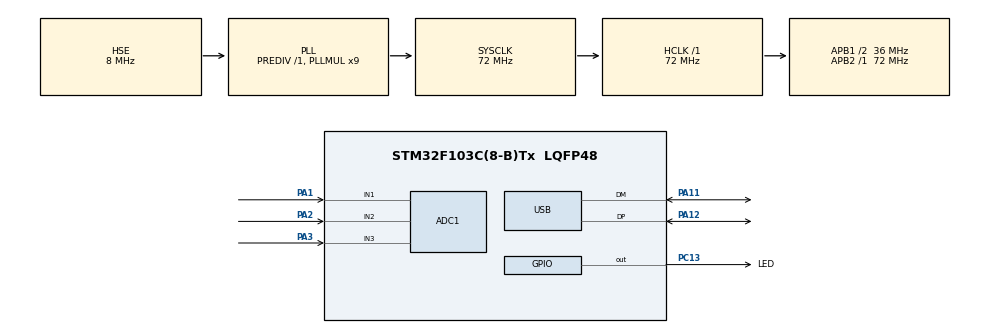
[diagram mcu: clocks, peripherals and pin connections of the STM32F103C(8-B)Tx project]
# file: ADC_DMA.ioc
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ADC1.Channel-0\#ChannelRegularConversion=ADC_CHANNEL_1
ADC1.Channel-1\#ChannelRegularConversion=ADC_CHANNEL_2
ADC1.Channel-2\#ChannelRegularConversion=ADC_CHANNEL_3
ADC1.ExternalTrigConv=ADC_EXTERNALTRIGCONV_T3_TRGO
ADC1.NbrOfConversion=3
ADC1.NbrOfConversionFlag=1
ADC1.Rank-0\#ChannelRegularConversion=1
ADC1.Rank-1\#ChannelRegularConversion=2
ADC1.Rank-2\#ChannelRegularConversion=3
ADC1.SamplingTime-0\#ChannelRegularConversion=ADC_SAMPLETIME_55CYCLES_5
ADC1.SamplingTime-1\#ChannelRegularConversion=ADC_SAMPLETIME_55CYCLES_5
ADC1.SamplingTime-2\#ChannelRegularConversion=ADC_SAMPLETIME_55CYCLES_5
ADC1.master=1
Dma.ADC1.0.Direction=DMA_PERIPH_TO_MEMORY
Dma.ADC1.0.Instance=DMA1_Channel1
Dma.ADC1.0.MemDataAlignment=DMA_MDATAALIGN_WORD
Dma.ADC1.0.MemInc=DMA_MINC_ENABLE
Dma.ADC1.0.Mode=DMA_CIRCULAR
Dma.ADC1.0.PeriphDataAlignment=DMA_PDATAALIGN_WORD
Dma.ADC1.0.PeriphInc=DMA_PINC_DISABLE
Dma.ADC1.0.Priority=DMA_PRIORITY_MEDIUM
Dma.Request0=ADC1
Mcu.Family=STM32F1
Mcu.Name=STM32F103C(8-B)Tx
Mcu.Package=LQFP48
NVIC.DMA1_Channel1_IRQn=true\:0\:0\:false\:false\:true\:false
NVIC.PriorityGroup=NVIC_PRIORITYGROUP_4
NVIC.USB_LP_CAN1_RX0_IRQn=true\:0\:0\:false\:false\:true\:false
PA1.Signal=ADCx_IN1
PA11.Mode=Device
PA11.Signal=USB_DM
PA12.Mode=Device
PA12.Signal=USB_DP
PA13.Mode=Serial_Wire
PA13.Signal=SYS_JTMS-SWDIO
PA14.Mode=Serial_Wire
PA14.Signal=SYS_JTCK-SWCLK
PA2.Signal=ADCx_IN2
PA3.Signal=ADCx_IN3
PC13-TAMPER-RTC.GPIO_Label=LED
PC13-TAMPER-RTC.Signal=GPIO_Output
PD0-OSC_IN.Mode=HSE-External-Oscillator
PD0-OSC_IN.Signal=RCC_OSC_IN
PD1-OSC_OUT.Mode=HSE-External-Oscillator
PD1-OSC_OUT.Signal=RCC_OSC_OUT
ProjectManager.HeapSize=0x200
ProjectManager.StackSize=0x400
ProjectManager.TargetToolchain=Makefile
RCC.ADCPresc=RCC_ADCPCLK2_DIV8
RCC.AHBFreq_Value=72000000
RCC.APB1CLKDivider=RCC_HCLK_DIV2
RCC.APB1Freq_Value=36000000
RCC.APB1TimFreq_Value=72000000
RCC.APB2Freq_Value=72000000
RCC.APB2TimFreq_Value=72000000
RCC.HCLKFreq_Value=72000000
RCC.PLLMUL=RCC_PLL_MUL9
RCC.SYSCLKFreq_VALUE=72000000
RCC.SYSCLKSource=RCC_SYSCLKSOURCE_PLLCLK
RCC.USBFreq_Value=48000000
RCC.USBPrescaler=RCC_USBCLKSOURCE_PLL_DIV1_5
SH.ADCx_IN1.0=ADC1_IN1,IN1
SH.ADCx_IN2.0=ADC1_IN2,IN2
SH.ADCx_IN3.0=ADC1_IN3,IN3
TIM3.AutoReloadPreload=TIM_AUTORELOAD_PRELOAD_ENABLE
TIM3.Period=1000
TIM3.Prescaler=7200
TIM3.TIM_MasterOutputTrigger=TIM_TRGO_UPDATE
USB_DEVICE.CLASS_NAME_FS=CDC
USB_DEVICE.MANUFACTURER_STRING=Onat_DAQ
USB_DEVICE.PRODUCT_STRING_CDC_FS=Onat Virtual ComPort
USB_DEVICE.VirtualMode=Cdc
USB_DEVICE.VirtualModeFS=Cdc_FS
VP_TIM3_VS_ClockSourceINT.Mode=Internal
VP_USB_DEVICE_VS_USB_DEVICE_CDC_FS.Mode=CDC_FS
board=custom

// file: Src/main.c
/**
  ******************************************************************************
  * @file           : main.c
  * @brief          : Main program body
  ******************************************************************************
  * This notice applies to any and all portions of this file
  * that are not between comment pairs USER CODE BEGIN and
  * USER CODE END. Other portions of this file, whether
  * inserted by the user or by software development tools
  * are owned by their respective copyright owners.
  *
  * Copyright (c) 2020 STMicroelectronics International N.V.
  * All rights reserved.
  *
  * Redistribution and use in source and binary forms, with or without
  * modification, are permitted, provided that the following conditions are met:
  *
  * 1. Redistribution of source code must retain the above copyright notice,
  *    this list of conditions and the following disclaimer.
  * 2. Redistributions in binary form must reproduce the above copyright notice,
  *    this list of conditions and the following disclaimer in the documentation
  *    and/or other materials provided with the distribution.
  * 3. Neither the name of STMicroelectronics nor the names of other
  *    contributors to this software may be used to endorse or promote products
  *    derived from this software without specific written permission.
  * 4. This software, including modifications and/or derivative works of this
  *    software, must execute solely and exclusively on microcontroller or
  *    microprocessor devices manufactured by or for STMicroelectronics.
  * 5. Redistribution and use of this software other than as permitted under
  *    this license is void and will automatically terminate your rights under
  *    this license.
  *
  * THIS SOFTWARE IS PROVIDED BY STMICROELECTRONICS AND CONTRIBUTORS "AS IS"
  * AND ANY EXPRESS, IMPLIED OR STATUTORY WARRANTIES, INCLUDING, BUT NOT
  * LIMITED TO, THE IMPLIED WARRANTIES OF MERCHANTABILITY, FITNESS FOR A
  * PARTICULAR PURPOSE AND NON-INFRINGEMENT OF THIRD PARTY INTELLECTUAL PROPERTY
  * RIGHTS ARE DISCLAIMED TO THE FULLEST EXTENT PERMITTED BY LAW. IN NO EVENT
  * SHALL STMICROELECTRONICS OR CONTRIBUTORS BE LIABLE FOR ANY DIRECT, INDIRECT,
  * INCIDENTAL, SPECIAL, EXEMPLARY, OR CONSEQUENTIAL DAMAGES (INCLUDING, BUT NOT
  * LIMITED TO, PROCUREMENT OF SUBSTITUTE GOODS OR SERVICES; LOSS OF USE, DATA,
  * OR PROFITS; OR BUSINESS INTERRUPTION) HOWEVER CAUSED AND ON ANY THEORY OF
  * LIABILITY, WHETHER IN CONTRACT, STRICT LIABILITY, OR TORT (INCLUDING
  * NEGLIGENCE OR OTHERWISE) ARISING IN ANY WAY OUT OF THE USE OF THIS SOFTWARE,
  * EVEN IF ADVISED OF THE POSSIBILITY OF SUCH DAMAGE.
  *
  ******************************************************************************
  */
#include "main.h"
#include "stm32f1xx_hal.h"
#include "usb_device.h"

/* USER CODE BEGIN Includes */
#include "usbd_cdc_if.h"     //AO!
#include <stdio.h>           //AO!:To be modified.

#define LED_ON()   HAL_GPIO_WritePin(GPIOC, GPIO_PIN_13, GPIO_PIN_RESET)
#define LED_OFF()  HAL_GPIO_WritePin(GPIOC, GPIO_PIN_13, GPIO_PIN_SET)

/* USER CODE END Includes */

ADC_HandleTypeDef hadc1;
DMA_HandleTypeDef hdma_adc1;

TIM_HandleTypeDef htim3;

/* USER CODE BEGIN PV */
/* Private variables ---------------------------------------------------------*/

#define ADC_BUFLEN 3
uint32_t adcBuf[ADC_BUFLEN];   //For ADC samples.

uint8_t ADC_FLAG;
#define TRUE 1
#define FALSE 0

//AO!: Below, ADC1_Init also configures the DMA channel:
/* USER CODE END PV */

void SystemClock_Config(void);
static void MX_GPIO_Init(void);
static void MX_DMA_Init(void);
static void MX_ADC1_Init(void);
static void MX_TIM3_Init(void);

/* USER CODE BEGIN PFP */
/* Private function prototypes -----------------------------------------------*/

/* USER CODE END PFP */

int main(void)
{
  /* USER CODE BEGIN 1 */
  int i;                //AO!
  char msgbuf[128];     //AO!

  /* USER CODE END 1 */

  /* MCU Configuration----------------------------------------------------------*/

  /* Reset of all peripherals, Initializes the Flash interface and the Systick. */
  HAL_Init();

  /* Configure the system clock */
  SystemClock_Config();

  /* Initialize all configured peripherals */
  MX_GPIO_Init();
  MX_DMA_Init();
  MX_USB_DEVICE_Init();
  MX_ADC1_Init();
  MX_TIM3_Init();
  /* USER CODE BEGIN 2 */

  ADC_FLAG=FALSE;

  i=0;
  LED_ON();

  HAL_Delay(500);
  LED_OFF();

  sprintf(msgbuf, "Starting device.\r\n");
  CDC_Transmit_FS((uint8_t *) msgbuf, strlen(msgbuf));

  HAL_Delay(500);

  HAL_TIM_Base_Start(&htim3); //AO!: Start the timer.

  //The link between hadc1 and hdma_adc1 was completed in stm32f1xx_hal_msp.c:
  HAL_ADC_Start_DMA(&hadc1, adcBuf, ADC_BUFLEN); //Link DMA to ADC1

  /* USER CODE END 2 */

  /* Infinite loop */
  /* USER CODE BEGIN WHILE */

  while (1)
  {

    if (ADC_FLAG==TRUE){
      ADC_FLAG=FALSE;
      ++i;
      LED_ON();  //After ADC has been completed.

      sprintf(msgbuf, "%d: ADC1=%d, ADC2=%d, ADC3=%d\r\n", i,
	      (int)adcBuf[0], (int)adcBuf[1], (int)adcBuf[2]);
      CDC_Transmit_FS((uint8_t *) msgbuf, strlen(msgbuf));

      LED_OFF();

    }
  /* USER CODE END WHILE */

  }

}

void SystemClock_Config(void)
{

  RCC_OscInitTypeDef RCC_OscInitStruct;
  RCC_ClkInitTypeDef RCC_ClkInitStruct;
  RCC_PeriphCLKInitTypeDef PeriphClkInit;

    /**Initializes the CPU, AHB and APB busses clocks
    */
  RCC_OscInitStruct.OscillatorType = RCC_OSCILLATORTYPE_HSE;
  RCC_OscInitStruct.HSEState = RCC_HSE_ON;
  RCC_OscInitStruct.HSEPredivValue = RCC_HSE_PREDIV_DIV1;
  RCC_OscInitStruct.HSIState = RCC_HSI_ON;
  RCC_OscInitStruct.PLL.PLLState = RCC_PLL_ON;
  RCC_OscInitStruct.PLL.PLLSource = RCC_PLLSOURCE_HSE;
  RCC_OscInitStruct.PLL.PLLMUL = RCC_PLL_MUL9;
  if (HAL_RCC_OscConfig(&RCC_OscInitStruct) != HAL_OK)
  {
    _Error_Handler(__FILE__, __LINE__);
  }

    /**Initializes the CPU, AHB and APB busses clocks
    */
  RCC_ClkInitStruct.ClockType = RCC_CLOCKTYPE_HCLK|RCC_CLOCKTYPE_SYSCLK
                              |RCC_CLOCKTYPE_PCLK1|RCC_CLOCKTYPE_PCLK2;
  RCC_ClkInitStruct.SYSCLKSource = RCC_SYSCLKSOURCE_PLLCLK;
  RCC_ClkInitStruct.AHBCLKDivider = RCC_SYSCLK_DIV1;
  RCC_ClkInitStruct.APB1CLKDivider = RCC_HCLK_DIV2;
  RCC_ClkInitStruct.APB2CLKDivider = RCC_HCLK_DIV1;

  if (HAL_RCC_ClockConfig(&RCC_ClkInitStruct, FLASH_LATENCY_2) != HAL_OK)
  {
    _Error_Handler(__FILE__, __LINE__);
  }

  PeriphClkInit.PeriphClockSelection = RCC_PERIPHCLK_ADC|RCC_PERIPHCLK_USB;
  PeriphClkInit.AdcClockSelection = RCC_ADCPCLK2_DIV8;
  PeriphClkInit.UsbClockSelection = RCC_USBCLKSOURCE_PLL_DIV1_5;
  if (HAL_RCCEx_PeriphCLKConfig(&PeriphClkInit) != HAL_OK)
  {
    _Error_Handler(__FILE__, __LINE__);
  }

    /**Configure the Systick interrupt time
    */
  HAL_SYSTICK_Config(HAL_RCC_GetHCLKFreq()/1000);

    /**Configure the Systick
    */
  HAL_SYSTICK_CLKSourceConfig(SYSTICK_CLKSOURCE_HCLK);

  /* SysTick_IRQn interrupt configuration */
  HAL_NVIC_SetPriority(SysTick_IRQn, 0, 0);
}

/* ADC1 init function */
static void MX_ADC1_Init(void)
{

  ADC_ChannelConfTypeDef sConfig;

    /**Common config
    */
  hadc1.Instance = ADC1;
  hadc1.Init.ScanConvMode = ADC_SCAN_ENABLE;
  hadc1.Init.ContinuousConvMode = DISABLE;
  hadc1.Init.DiscontinuousConvMode = DISABLE;
  hadc1.Init.ExternalTrigConv = ADC_EXTERNALTRIGCONV_T3_TRGO;
  hadc1.Init.DataAlign = ADC_DATAALIGN_RIGHT;
  hadc1.Init.NbrOfConversion = 3;
  if (HAL_ADC_Init(&hadc1) != HAL_OK)
  {
    _Error_Handler(__FILE__, __LINE__);
  }

    /**Configure Regular Channel
    */
  sConfig.Channel = ADC_CHANNEL_1;
  sConfig.Rank = ADC_REGULAR_RANK_1;
  sConfig.SamplingTime = ADC_SAMPLETIME_55CYCLES_5;
  if (HAL_ADC_ConfigChannel(&hadc1, &sConfig) != HAL_OK)
  {
    _Error_Handler(__FILE__, __LINE__);
  }

    /**Configure Regular Channel
    */
  sConfig.Channel = ADC_CHANNEL_2;
  sConfig.Rank = ADC_REGULAR_RANK_2;
  if (HAL_ADC_ConfigChannel(&hadc1, &sConfig) != HAL_OK)
  {
    _Error_Handler(__FILE__, __LINE__);
  }

    /**Configure Regular Channel
    */
  sConfig.Channel = ADC_CHANNEL_3;
  sConfig.Rank = ADC_REGULAR_RANK_3;
  if (HAL_ADC_ConfigChannel(&hadc1, &sConfig) != HAL_OK)
  {
    _Error_Handler(__FILE__, __LINE__);
  }

}

/* TIM3 init function */
static void MX_TIM3_Init(void)
{

  TIM_ClockConfigTypeDef sClockSourceConfig;
  TIM_MasterConfigTypeDef sMasterConfig;

  htim3.Instance = TIM3;
  htim3.Init.Prescaler = 7200;
  htim3.Init.CounterMode = TIM_COUNTERMODE_UP;
  htim3.Init.Period = 1000;
  htim3.Init.ClockDivision = TIM_CLOCKDIVISION_DIV1;
  htim3.Init.AutoReloadPreload = TIM_AUTORELOAD_PRELOAD_ENABLE;
  if (HAL_TIM_Base_Init(&htim3) != HAL_OK)
  {
    _Error_Handler(__FILE__, __LINE__);
  }

  sClockSourceConfig.ClockSource = TIM_CLOCKSOURCE_INTERNAL;
  if (HAL_TIM_ConfigClockSource(&htim3, &sClockSourceConfig) != HAL_OK)
  {
    _Error_Handler(__FILE__, __LINE__);
  }

  sMasterConfig.MasterOutputTrigger = TIM_TRGO_UPDATE;
  sMasterConfig.MasterSlaveMode = TIM_MASTERSLAVEMODE_DISABLE;
  if (HAL_TIMEx_MasterConfigSynchronization(&htim3, &sMasterConfig) != HAL_OK)
  {
    _Error_Handler(__FILE__, __LINE__);
  }

}

static void MX_DMA_Init(void)
{
  /* DMA controller clock enable */
  __HAL_RCC_DMA1_CLK_ENABLE();

  /* DMA interrupt init */
  /* DMA1_Channel1_IRQn interrupt configuration */
  HAL_NVIC_SetPriority(DMA1_Channel1_IRQn, 0, 0);
  HAL_NVIC_EnableIRQ(DMA1_Channel1_IRQn);

}

/** Configure pins as
        * Analog
        * Input
        * Output
        * EVENT_OUT
        * EXTI
*/
static void MX_GPIO_Init(void)
{

  GPIO_InitTypeDef GPIO_InitStruct;

  /* GPIO Ports Clock Enable */
  __HAL_RCC_GPIOC_CLK_ENABLE();
  __HAL_RCC_GPIOD_CLK_ENABLE();
  __HAL_RCC_GPIOA_CLK_ENABLE();

  /*Configure GPIO pin Output Level */
  HAL_GPIO_WritePin(LED_GPIO_Port, LED_Pin, GPIO_PIN_RESET);

  /*Configure GPIO pin : LED_Pin */
  GPIO_InitStruct.Pin = LED_Pin;
  GPIO_InitStruct.Mode = GPIO_MODE_OUTPUT_PP;
  GPIO_InitStruct.Pull = GPIO_NOPULL;
  GPIO_InitStruct.Speed = GPIO_SPEED_FREQ_LOW;
  HAL_GPIO_Init(LED_GPIO_Port, &GPIO_InitStruct);

}

/* USER CODE BEGIN 4 */

//AO! Signal to the infinite loop that the conversion has been completed.
void HAL_ADC_ConvCpltCallback(ADC_HandleTypeDef* hadc1){

  ADC_FLAG=TRUE;
}

/* USER CODE END 4 */

void _Error_Handler(char *file, int line)
{
  /* USER CODE BEGIN Error_Handler_Debug */
  /* User can add his own implementation to report the HAL error return state */

  char msgbuf[128];     //AO!
  int i;

  //Wait for 2-3s (to allow time for connecting the USB connector.)
  for (i=0; i<20;++i){    // Blink LED at 20Hz for 2s
    LED_ON();
    HAL_Delay(10);
    LED_OFF();
    HAL_Delay(40);
  }

  //USB serial transmit file name and line number:
  sprintf(msgbuf, "Error Handler. File:%s, Line:%d\r\n",file, line);
  CDC_Transmit_FS((uint8_t *) msgbuf, strlen(msgbuf));

  while(1)
  {
    // Blink LED at 20Hz.
    LED_ON();
    HAL_Delay(10);
    LED_OFF();
    HAL_Delay(40);
  }
  /* USER CODE END Error_Handler_Debug */
}

/************************ (C) COPYRIGHT STMicroelectronics *****END OF FILE****/
